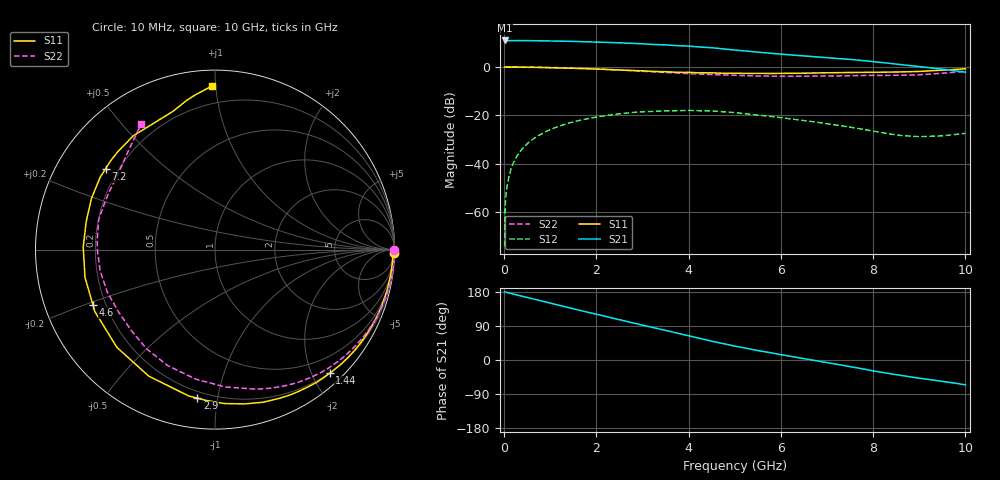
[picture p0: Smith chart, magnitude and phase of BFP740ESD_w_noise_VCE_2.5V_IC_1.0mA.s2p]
! Infineon Technologies  Discrete & RF Semiconductors
! BFP740ESD
! VCE =  2.5 V,  IC =  1.0 mA
! Common Emitter S-Parameters:  Jan 2016
# GHz  S  MA  R  50
!  f  S11  S21  S12  S22
! GHz  MAG  ANG  MAG  ANG  MAG  ANG  MAG  ANG
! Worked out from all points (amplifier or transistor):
!   233 points, 10 MHz to 10 GHz, reference 50 ohm
!   highest |S21| = 10.9 dB at 10 MHz (marker M1)
!   |S21| within 3 dB of that: start of sweep to 4.503 GHz
!   unconditionally stable (mu >= 1): 7.36 GHz to 9.71 GHz
!   at 200 MHz: K = 0.02, MSG = 25.3 dB, |S12| = -39.7 dB
!   at 1.74 GHz: K = 0.15, MSG = 16.0 dB, |S12| = -21.6 dB
!   at 10 GHz: K = 0.54, MSG = 12.6 dB, |S12| = -27.4 dB
!   lowest NFmin = 0.56 dB at 450 MHz
!   S11 on the Smith chart (normalised r, x): 10 MHz: 18, -92; 1.44 GHz: 0.19, -2.28; 2.9 GHz: 0.16, -0.87; 4.6 GHz: 0.15, -0.21; 7.2 GHz: 0.15, +0.32; 10 GHz: 0.09, +0.98
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0.01  0.9959 -1.2  3.509 179.8  0.0002 -122.8  0.9996 0.0
0.02  0.9909 -0.8  3.434 179.8  0.0011 87.5  0.9998 -0.6
0.05  0.9923 -1.6  3.453 178.5  0.0028 89.7  0.9999 -1.2
0.13  0.9907 -4.2  3.479 176.2  0.0068 86.9  0.9989 -3.1
0.24  0.9885 -7.8  3.479 172.8  0.0125 83.7  0.9977 -5.8
0.42  0.9847 -13.6  3.484 167.5  0.0218 79.1  0.994 -10.2
0.7  0.9762 -22.8  3.473 159.0  0.0361 71.7  0.9855 -16.9
1.1  0.9593 -35.8  3.419 147.2  0.0556 61.2  0.9677 -26.6
1.44  0.9395 -47.2  3.359 136.9  0.0708 52.3  0.947 -35.0
1.68  0.9254 -55.1  3.316 129.9  0.0805 46.0  0.9307 -40.7
2.4  0.875 -79.4  3.161 109.2  0.1052 28.0  0.8718 -58.2
2.9  0.8336 -96.8  3.02 94.8  0.1166 15.3  0.8213 -70.7
3.4  0.7963 -114.0  2.858 80.8  0.1227 3.2  0.7736 -83.1
4  0.7717 -135.1  2.688 64.0  0.1264 -10.6  0.7297 -98.5
4.6  0.7464 -155.7  2.427 47.1  0.1212 -24.5  0.6901 -114.7
5.1  0.7364 -170.5  2.187 34.4  0.1115 -34.7  0.6653 -126.7
6  0.7343 167.9  1.837 14.1  0.0898 -48.8  0.6399 -147.1
6.8  0.7488 151.8  1.599 -2.6  0.0717 -55.9  0.6457 -165.3
7.2  0.7578 143.6  1.497 -11.0  0.0632 -57.8  0.6504 -174.7
8  0.7805 125.8  1.293 -28.8  0.0473 -57.6  0.6695 165.3
8.4  0.7805 117.5  1.169 -36.8  0.0408 -52.2  0.6683 155.5
10  0.9107 91.2  0.775 -65.6  0.0425 -22.5  0.8114 120.4
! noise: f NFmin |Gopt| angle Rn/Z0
0.45  0.56  0.79  8  0.39
0.9  0.61  0.78  20  0.38
1.9  0.75  0.68  46  0.32
2.4  0.9  0.65  62  0.33
5.5  1.73  0.49  162  0.1
